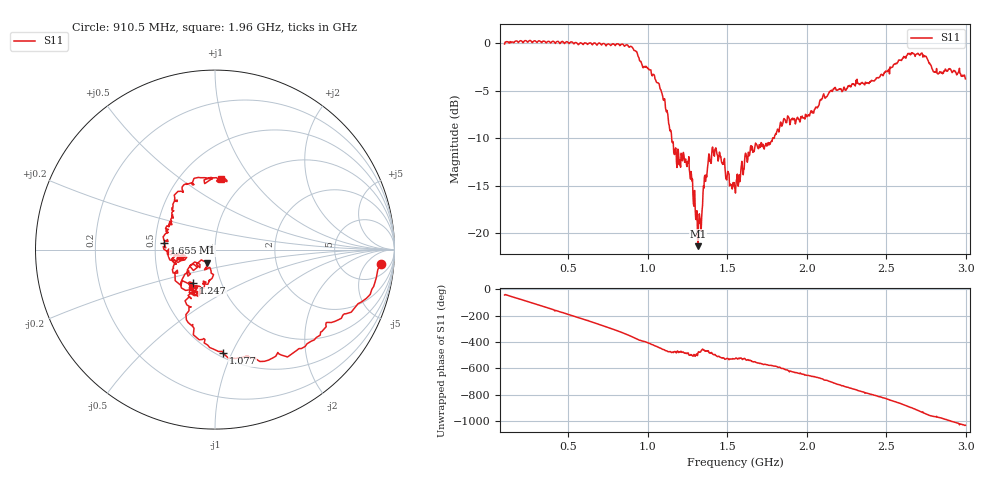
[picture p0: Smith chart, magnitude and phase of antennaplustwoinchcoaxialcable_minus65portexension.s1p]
# HZ S RI R 50
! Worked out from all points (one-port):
!   1009 points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, 100 MHz to 2.997 GHz, reference 50 ohm
!   lowest |S11| = -21.4 dB at 1.316 GHz (marker M1), VSWR 1.19, Z = 45.1 - j6.55 ohm
!   |S11| at or under -10 dB: 1.151 GHz to 1.785 GHz (634.5 MHz wide, 43.2 % of centre); 1.790786 GHz to 1.795711 GHz (4.925 MHz wide, 0.275 % of centre)
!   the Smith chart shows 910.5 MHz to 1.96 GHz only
!   S11 on the Smith chart (normalised r, x): 910.5 MHz: 11, -13; 1.077 GHz: 0.53, -0.92; 1.247 GHz: 0.73, -0.29; 1.655 GHz: 0.56, +0.04; 1.96 GHz: 0.78, +0.72
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1e8  0.7362 -0.6593
2.72448e8  -0.2137 -0.9837
3.787909e8  -0.8134 -0.6138
4.621408e8  -1.016 -0.0919
5.54113e8  -0.8619 0.5083
6.575818e8  -0.3153 0.9402
7.380575e8  0.233 0.9371
8.242815e8  0.7559 0.606
9.105055e8  0.923 -0.0815
1.008226e9  0.4676 -0.5517
1.077205e9  0.0436 -0.5762
1.186422e9  -0.0746 -0.2318
1.246779e9  -0.1237 -0.1868
1.315758e9  -0.0463 -0.072
1.416353e9  -0.1877 -0.1759
1.548563e9  -0.1685 -0.0397
1.654906e9  -0.2843 0.0359
1.910704e9  -0.021 0.4024
1.959564e9  0.0351 0.3907
2.091774e9  0.3796 0.3296
2.272845e9  0.5153 -0.2987
2.482656e9  -0.1735 -0.6589
2.563132e9  -0.5764 -0.5265
2.634985e9  -0.8658 -0.1606
2.703964e9  -0.8041 0.3421
2.764321e9  -0.4608 0.658
2.896531e9  0.0977 0.7268
2.997126e9  0.4466 0.4697
